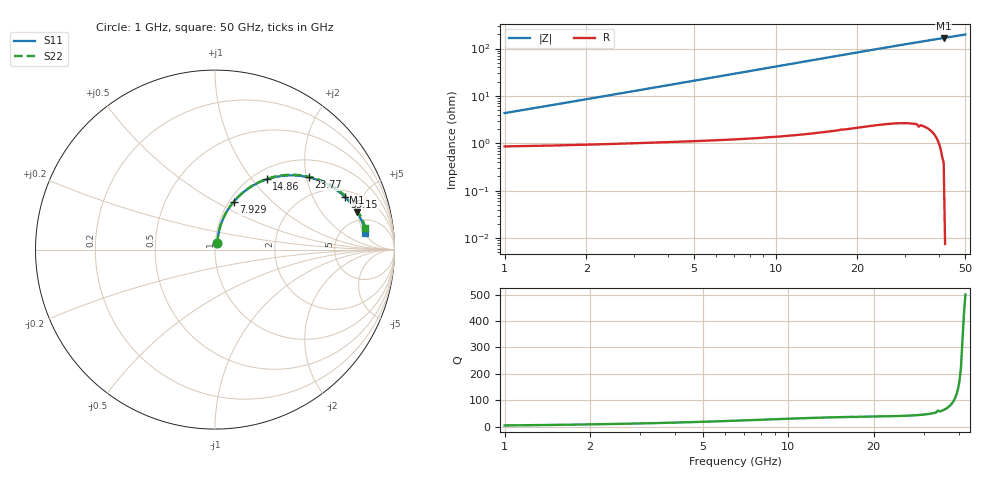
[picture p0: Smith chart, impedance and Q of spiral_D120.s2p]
! rapidmom parametric dataset (SG13G2 open stack, IHP)
! device = spiral
! family = spiral_N2
! stack = IHP SG13G2 (open PDK)
! Dout_um = 120
! width_um = 10
! spacing_um = 3
! sides = 8
! n_ports = 2
! n_dof = 3588
! cell_um = 3.0
! sweep = ROM (rational fit from adaptive anchor solves)
! rom_converged = True
! f_points = 100
! f_min_hz = 1.000e+09
! f_max_hz = 5.000e+10
! tool = rapidmom (2.5D MoM, A-EFIE)
! N = 2
# HZ S RI R 50
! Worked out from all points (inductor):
!   100 points, 1 GHz to 50 GHz, reference 50 ohm
!   read as one part in series: L = 676 pH near 1 GHz
!   highest Q = 425 at 41.59 GHz (marker M1), where L = 640 pH
!   S11 on the Smith chart (normalised r, x): 1 GHz: 1.02, +0.07; 7.929 GHz: 1.05, +0.61; 14.86 GHz: 1.16, +1.19; 23.77 GHz: 1.45, +2.06; 35.15 GHz: 2.40, +3.61; 50 GHz: 8.20, +5.39
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1e9  0.00888 0.0365  0.9883 -0.0471  0.9883 -0.0471  0.00889 0.0365
1.494949e9  0.0146 0.0562  0.989 -0.0681  0.989 -0.0681  0.0146 0.0561
1.989899e9  0.0167 0.0731  0.9844 -0.0914  0.9844 -0.0914  0.0167 0.0731
2.484848e9  0.0196 0.0906  0.979 -0.1135  0.979 -0.1135  0.0195 0.0905
3.474747e9  0.0281 0.1256  0.9666 -0.1556  0.9666 -0.1556  0.0279 0.1256
4.464646e9  0.0401 0.1599  0.9519 -0.1957  0.9519 -0.1957  0.0398 0.1599
5.454545e9  0.0552 0.1927  0.935 -0.2339  0.935 -0.2339  0.0547 0.1928
6.444444e9  0.073 0.2236  0.9159 -0.2703  0.9159 -0.2703  0.0724 0.2238
7.929293e9  0.1042 0.266  0.8835 -0.321  0.8835 -0.321  0.1033 0.2663
9.414141e9  0.1411 0.3042  0.8484 -0.3663  0.8484 -0.3663  0.1398 0.3045
1.188889e10  0.2049 0.3523  0.7811 -0.4308  0.7811 -0.4308  0.2031 0.3533
1.485859e10  0.2882 0.3912  0.6968 -0.4883  0.6968 -0.4883  0.2856 0.3929
1.782828e10  0.3711 0.4103  0.6125 -0.5269  0.6125 -0.5269  0.3678 0.413
2.079798e10  0.4495 0.4128  0.5323 -0.5499  0.5323 -0.5499  0.4455 0.4167
2.376768e10  0.5211 0.4025  0.458 -0.5608  0.458 -0.5608  0.5166 0.4078
2.574747e10  0.5646 0.3901  0.4122 -0.563  0.4122 -0.563  0.5597 0.3965
2.970707e10  0.6408 0.3553  0.3295 -0.5585  0.3295 -0.5585  0.6355 0.3641
3.366667e10  0.7027 0.3121  0.257 -0.5463  0.257 -0.5463  0.6973 0.3236
3.515152e10  0.7236 0.2934  0.2329 -0.5398  0.2329 -0.5398  0.7182 0.306
4.158586e10  0.7917 0.2091  0.1388 -0.5066  0.1388 -0.5066  0.7876 0.2269
4.208081e10  0.7957 0.2025  0.132 -0.5043  0.132 -0.5043  0.7916 0.2207
5e10  0.8383 0.0948  0.0371 -0.452  0.0371 -0.452  0.8385 0.1196
